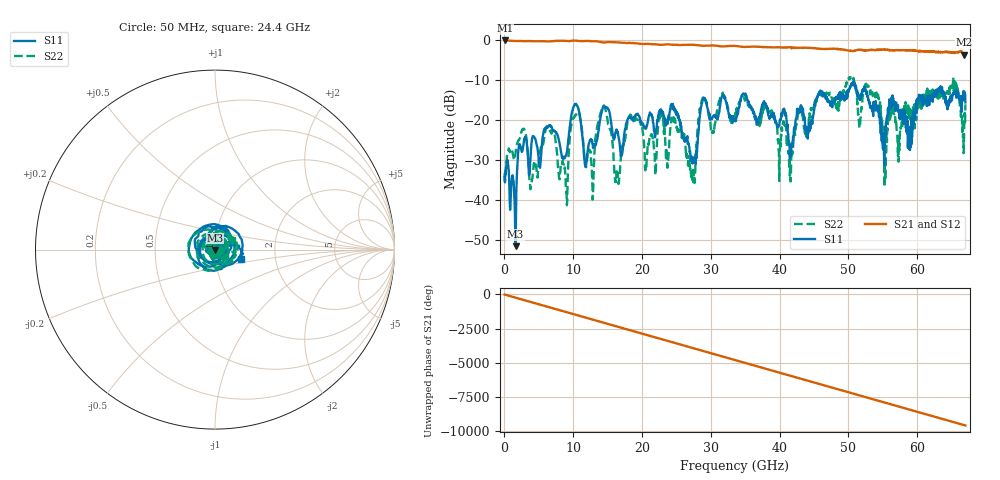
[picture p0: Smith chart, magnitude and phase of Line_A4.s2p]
#  HZ  S  MA  R  50.00
! Rohde & Schwarz ZVA67 4Ports - Version 4.11 - 1305.7002k04 SN: 101051
! Date: 2023-05-31 12:43:38
! Measurements: S11 S21 S12 S22
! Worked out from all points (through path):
!   1340 points, 50 MHz to 67 GHz, reference 50 ohm
!   highest |S21| = -0.14 dB at 100 MHz (marker M1); lowest = -3.7 dB at 66.85 GHz (marker M2)
!   group delay of S21, straight-line fit = 398 ps
!   lowest |S11| = -51.6 dB at 1.65 GHz (marker M3), VSWR 1.01, Z = 50 - j0.259 ohm
!   |S11| at or under -10 dB: start of sweep to end of sweep
!   |S22| runs from -41.4 to -9.3 dB; largest |S21 - S12| = 0.16
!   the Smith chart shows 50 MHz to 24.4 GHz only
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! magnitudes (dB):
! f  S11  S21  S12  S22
! 50 MHz  -34.3  -0.1  -0.1  -33.3
! 100 MHz  -35.6  -0.1  -0.1  -35.2
! 1.65 GHz  -51.6  -0.3  -0.3  -28.1
! 3 GHz  -24.4  -0.3  -0.3  -22.7
! 3.85 GHz  -28.4  -0.3  -0.3  -36.9
! 6.3 GHz  -21.7  -0.4  -0.4  -21.7
! 8.95 GHz  -29.0  -0.3  -0.3  -37.1
! 11.25 GHz  -22.6  -0.3  -0.3  -21.9
! 12.85 GHz  -26.2  -0.4  -0.4  -40.0
! 14.55 GHz  -16.7  -0.7  -0.7  -16.6
! 16.4 GHz  -22.7  -0.6  -0.6  -33.0
! 18.2 GHz  -19.1  -0.8  -0.8  -19.0
! 22.4 GHz  -18.7  -1.2  -1.2  -20.5
! 27.45 GHz  -29.5  -1.2  -1.2  -35.6
! 28.8 GHz  -15.2  -1.4  -1.4  -14.6
! 33.55 GHz  -20.4  -1.5  -1.5  -18.3
! 41.6 GHz  -29.2  -1.9  -1.9  -35.4
! 44.7 GHz  -20.1  -2.0  -2.0  -17.0
! 55.85 GHz  -16.9  -2.5  -2.5  -20.7
! 65.35 GHz  -12.9  -3.2  -3.1  -10.0
! 66.85 GHz  -12.9  -3.7  -3.7  -19.8
! 67 GHz  -15.6  -3.5  -3.4  -16.1
